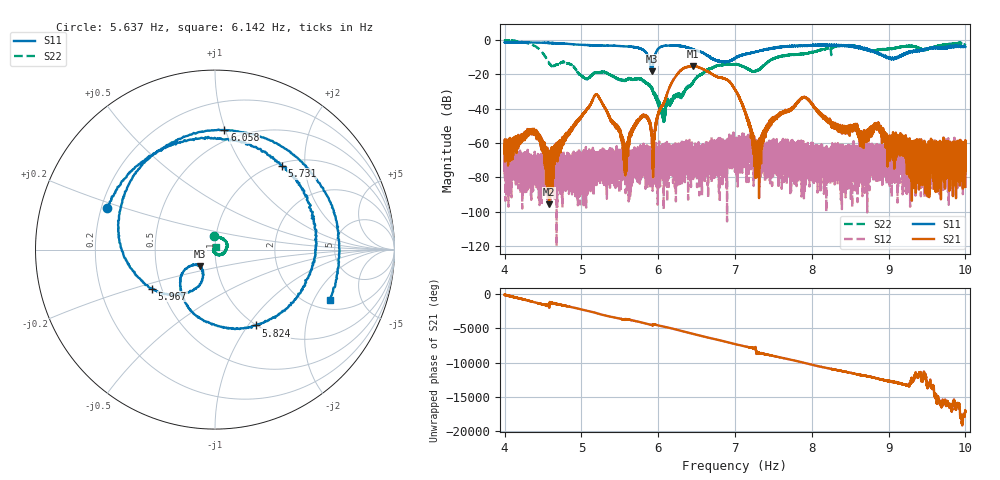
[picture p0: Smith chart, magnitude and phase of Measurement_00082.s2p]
!Created with skrf (http://scikit-rf.org).
# Hz S RI R 50.0
!freq ReS11 ImS11 ReS21 ImS21 ReS12 ImS12 ReS22 ImS22
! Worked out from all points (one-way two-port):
!   14001 points, 4 Hz to 10 Hz, reference 50 ohm
!   highest |S21| = -15.14 dB at 6.447 Hz (marker M1); lowest = -95.7 dB at 4.58 Hz (marker M2)
!   lowest |S11| = -18.1 dB at 5.915 Hz (marker M3), VSWR 1.28, Z = 41.7 - j7.9 ohm
!   |S11| at or under -10 dB: 5.873 Hz to 5.952 Hz (78.84 mHz wide, 1.33 % of centre); 6.68 Hz to 7.018 Hz (338.3 mHz wide, 4.94 % of centre); 8.995 Hz to 9.109 Hz (113.8 mHz wide, 1.26 % of centre) (the widest 3 of 12)
!   |S22| runs from -47.7 to -0.2 dB; largest |S21 - S12| = 0.17
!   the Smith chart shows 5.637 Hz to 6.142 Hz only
!   S11 on the Smith chart (normalised r, x): 5.637 Hz: 0.22, +0.18; 5.731 Hz: 1.05, +1.53; 5.824 Hz: 0.99, -1.09; 5.967 Hz: 0.44, -0.23; 6.058 Hz: 0.41, +0.99; 6.142 Hz: 2.44, -2.70
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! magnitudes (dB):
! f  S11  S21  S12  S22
! 4 Hz  -1.3  -66.0  -76.6  -0.2
! 4.355 Hz  -1.4  -52.0  -71.6  -2.6
! 4.58 Hz  -1.7  -95.7  -71.4  -13.5
! 5 Hz  -2.7  -44.3  -71.7  -20.6
! 5.2 Hz  -3.1  -31.7  -73.7  -18.8
! 5.57 Hz  -3.6  -68.2  -70.7  -23.4
! 5.637 Hz  -3.8  -54.4  -74.7  -22.4
! 5.731 Hz  -4.5  -47.8  -70.4  -22.3
! 5.824 Hz  -6.4  -44.3  -79.2  -24.2
! 5.915 Hz  -18.1  -54.8  -64.0  -28.0
! 5.967 Hz  -7.7  -50.3  -65.9  -32.2
! 6 Hz  -5.0  -42.8  -64.7  -34.6
! 6.058 Hz  -3.5  -38.0  -65.5  -40.4
! 6.142 Hz  -3.1  -28.1  -67.3  -37.2
! 6.447 Hz  -5.3  -15.1  -70.3  -24.8
! 7 Hz  -10.5  -28.8  -62.3  -13.9
! 7.285 Hz  -6.7  -65.8  -60.7  -17.9
! 7.508 Hz  -4.7  -46.1  -68.9  -10.6
! 8 Hz  -3.2  -36.9  -67.1  -6.9
! 8.852 Hz  -7.9  -49.7  -74.6  -5.8
! 9 Hz  -10.4  -57.3  -66.3  -5.0
! 10 Hz  -4.1  -85.5  -68.0  -3.1
